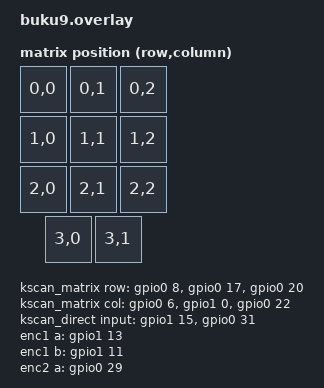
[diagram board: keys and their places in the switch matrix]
/ {
    chosen {
        zmk,kscan = &kscan0;
        zmk,display = &oled;
        zmk,physical-layout = &physical_layout0;
    };

    physical_layout0: physical_layout_0 {
        compatible = "zmk,physical-layout";
        display-name = "Default";
        transform = <&default_transform>;
        kscan = <&kscan0>;
    };

    kscan0: kscan0 {
        compatible = "zmk,kscan-composite";
        rows = <4>;
        columns = <3>;
        matrix {
            kscan = <&kscan_matrix>;
        };
        direct {
            kscan = <&kscan_direct>;
            row-offset = <3>;
        };
    };

    kscan_matrix: kscan_matrix {
        compatible = "zmk,kscan-gpio-matrix";
        wakeup-source;
        diode-direction = "col2row";
        col-gpios = <&gpio0 6 GPIO_ACTIVE_LOW>, <&gpio1 0 GPIO_ACTIVE_LOW>, <&gpio0 22 GPIO_ACTIVE_LOW>;
        row-gpios = <&gpio0 8 (GPIO_ACTIVE_HIGH | GPIO_PULL_DOWN)>, <&gpio0 17 (GPIO_ACTIVE_HIGH | GPIO_PULL_DOWN)>, <&gpio0 20 (GPIO_ACTIVE_HIGH | GPIO_PULL_DOWN)>;
    };

    kscan_direct: kscan_direct {
        compatible = "zmk,kscan-gpio-direct";
        wakeup-source;
        input-gpios = <&gpio1 15 (GPIO_ACTIVE_LOW | GPIO_PULL_UP)>, <&gpio0 31 (GPIO_ACTIVE_LOW | GPIO_PULL_UP)>;
    };

    default_transform: matrix_transform {
        compatible = "zmk,matrix-transform";
        columns = <3>;
        rows = <4>;
        map = < RC(0,0) RC(0,1) RC(0,2)
                RC(1,0) RC(1,1) RC(1,2)
                RC(2,0) RC(2,1) RC(2,2)
                RC(3,0) RC(3,1) >;
    };

    encoders {
        compatible = "zmk,keymap-sensors";
        sensors = <&enc1 &enc2>;
        triggers-per-rotation = <20>;
    };

    enc1: encoder_1 {
        compatible = "alps,ec11";
        a-gpios = <&gpio1 13 (GPIO_ACTIVE_HIGH | GPIO_PULL_UP)>;
        b-gpios = <&gpio1 11 (GPIO_ACTIVE_HIGH | GPIO_PULL_UP)>;
        steps = <80>;
        status = "okay";
    };

    enc2: encoder_2 {
        compatible = "alps,ec11";
        a-gpios = <&gpio0 29 (GPIO_ACTIVE_HIGH | GPIO_PULL_UP)>;
        b-gpios = <&gpio0 2 (GPIO_ACTIVE_HIGH | GPIO_PULL_UP)>;
        steps = <80>;
        status = "okay";
    };
};

&spi0 {
    status = "okay";

    oled: ssd1306@0 {
        compatible = "solomon,ssd1306fb";
        reg = <0>;
        spi-max-frequency = <8000000>;
        width = <128>;
        height = <64>;
        segment-offset = <0>;
        page-offset = <0>;
        com-invdir;
        com-sequential;
        reset-gpios = <&gpio1 4 GPIO_ACTIVE_LOW>;
        dc-gpios = <&gpio1 6 GPIO_ACTIVE_HIGH>;
        status = "okay";
    };
};
